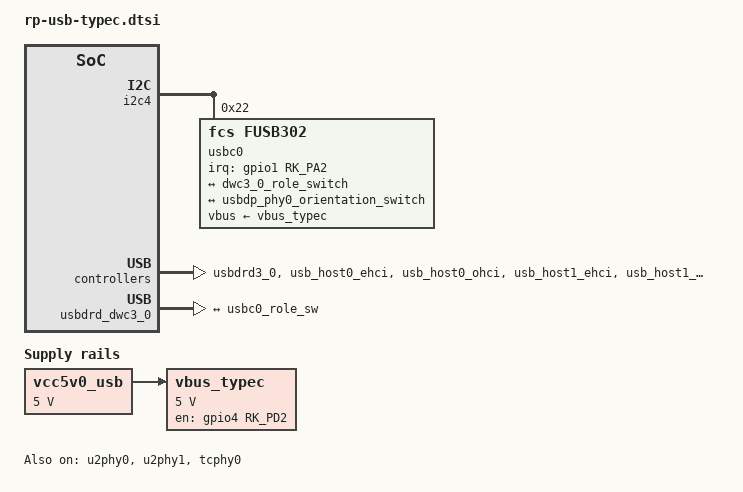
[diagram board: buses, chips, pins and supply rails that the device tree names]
#include "dt-bindings/usb/pd.h"

/ {
        vcc5v0_usb: vcc5v0-usb {
                compatible = "regulator-fixed";
                regulator-name = "vcc5v0_usb";
                regulator-always-on;
                regulator-boot-on;
                regulator-min-microvolt = <5000000>;
                regulator-max-microvolt = <5000000>;
        };

        vbus_typec: vbus5v0-typec {
                compatible = "regulator-fixed";
                regulator-name = "vbus_typec";
                regulator-min-microvolt = <5000000>;
                regulator-max-microvolt = <5000000>;
                enable-active-high;
                gpio = <&gpio4 RK_PD2 GPIO_ACTIVE_HIGH>;
                vin-supply = <&vcc5v0_usb>;
                pinctrl-names = "default";
                pinctrl-0 = <&typec5v_pwren>;
        };
};



&i2c4 {
    status = "okay";

    usbc0: fusb302@22 {
        compatible = "fcs,fusb302";
        reg = <0x22>;
        interrupt-parent = <&gpio1>;
        interrupts = <RK_PA2 IRQ_TYPE_LEVEL_LOW>;
        pinctrl-names = "default";
        pinctrl-0 = <&usbc0_int>;
        vbus-supply = <&vbus_typec>;
        status = "okay";

        ports {
            #address-cells = <1>;
            #size-cells = <0>;

            port@0 {
                reg = <0>;
                usbc0_role_sw: endpoint@0 {
                    remote-endpoint = <&dwc3_0_role_switch>;
                };
            };
        };

        usb_con: connector {
            compatible = "usb-c-connector";
            label = "USB-C";
            data-role = "dual";
            power-role = "dual";
            try-power-role = "sink";
            op-sink-microwatt = <1000000>;
            sink-pdos =
                <PDO_FIXED(5000, 2500, PDO_FIXED_USB_COMM)>;
            source-pdos =
                <PDO_FIXED(5000, 1500, PDO_FIXED_USB_COMM)>;

            altmodes {
                #address-cells = <1>;
                #size-cells = <0>;

                altmode@0 {
                    reg = <0>;
                    svid = <0xff01>;
                    vdo = <0xffffffff>;
                };
            };

            ports {
                #address-cells = <1>;
                #size-cells = <0>;

                port@0 {
                    reg = <0>;
                    usbc0_orien_sw: endpoint {
                        remote-endpoint = <&usbdp_phy0_orientation_switch>;
                    };
                };
            };
        };
    };
};


&u2phy0 {
        status = "okay";
    
        u2phy0_otg: otg-port {
                status = "okay";
        };

        u2phy0_host: host-port {
                phy-supply = <&vcc5v0_usb>;
                status = "okay";
        };
};

&u2phy1 {
        status = "okay";

        u2phy1_otg: otg-port {
                status = "okay";
        };

        u2phy1_host: host-port {
                status = "okay";
        };
};



&tcphy0 {
        status = "okay";
    svid = <0xff01>;
    orientation-switch;
    port {
        #address-cells = <1>;
        #size-cells = <0>;
        usbdp_phy0_orientation_switch: endpoint@0 {
            reg = <0>;
            remote-endpoint = <&usbc0_orien_sw>;
        };
    };
};

&usbdrd3_0 {
        status = "okay";
};

&usbdrd_dwc3_0 {
    status = "okay";
    usb-role-switch;
    port {
        #address-cells = <1>;
        #size-cells = <0>;
        dwc3_0_role_switch: endpoint@0 {
            reg = <0>;
            remote-endpoint = <&usbc0_role_sw>;
        };
    };
};

&usb_host0_ehci {
        status = "okay";
};

&usb_host0_ohci {
        status = "okay";
};

&usb_host1_ehci {
        status = "okay";
};

&usb_host1_ohci {
        status = "okay";
};


&pinctrl {
        usb-typec {
                usbc0_int: usbc0-int {
                        rockchip,pins = <1 RK_PA2 RK_FUNC_GPIO &pcfg_pull_up>;
                };

                typec5v_pwren: typec5v-pwren {
                        rockchip,pins = <4 RK_PD2 RK_FUNC_GPIO &pcfg_pull_none>;
                };
       };
};
